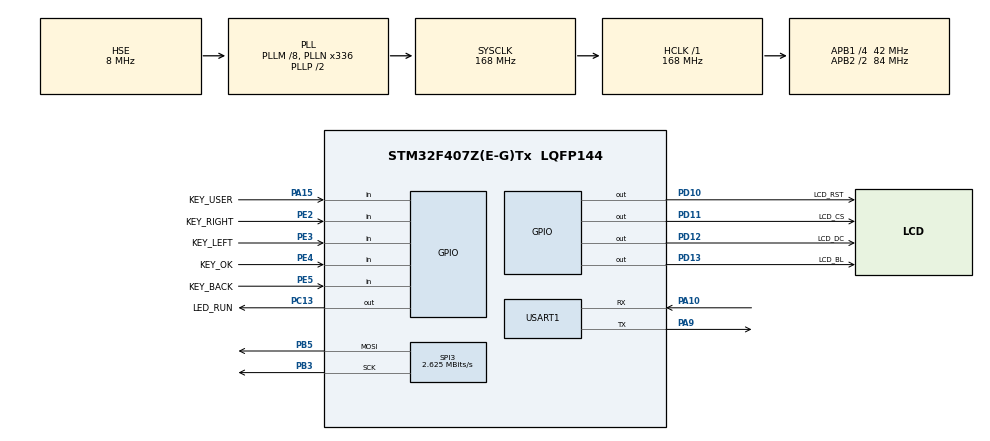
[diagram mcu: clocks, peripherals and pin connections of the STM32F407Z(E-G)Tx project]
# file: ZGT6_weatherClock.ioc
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FREERTOS.Queues01=uiQueue,8,uint32_t,0,Dynamic,NULL,NULL
FREERTOS.Tasks01=KeyTask,8,256,StartKeyTask,Default,NULL,Dynamic,NULL,NULL;UiTask,24,512,StartUiTask,Default,NULL,Dynamic,NULL,NULL;TimeTask,8,512,StartTimeTask,Default,NULL,Dynamic,NULL,NULL;Esp32Task,8,2048,StartEsp32Task,Default,NULL,Dynamic,NULL,NULL
Mcu.Family=STM32F4
Mcu.Name=STM32F407Z(E-G)Tx
Mcu.Package=LQFP144
NVIC.PriorityGroup=NVIC_PRIORITYGROUP_4
NVIC.TIM6_DAC_IRQn=true\:15\:0\:false\:false\:true\:false\:false\:true\:true
NVIC.TimeBase=TIM6_DAC_IRQn
NVIC.TimeBaseIP=TIM6
NVIC.USART1_IRQn=true\:5\:0\:false\:false\:true\:true\:true\:true\:true
PA10.Mode=Asynchronous
PA10.Signal=USART1_RX
PA13.Mode=Serial_Wire
PA13.Signal=SYS_JTMS-SWDIO
PA14.Mode=Serial_Wire
PA14.Signal=SYS_JTCK-SWCLK
PA15.GPIO_Label=KEY_USER
PA15.GPIO_PuPd=GPIO_PULLUP
PA15.Signal=GPIO_Input
PA9.Mode=Asynchronous
PA9.Signal=USART1_TX
PB3.Mode=TX_Only_Simplex_Unidirect_Master
PB3.Signal=SPI3_SCK
PB5.Mode=TX_Only_Simplex_Unidirect_Master
PB5.Signal=SPI3_MOSI
PC13-ANTI_TAMP.GPIO_Label=LED_RUN
PC13-ANTI_TAMP.PinState=GPIO_PIN_SET
PC13-ANTI_TAMP.Signal=GPIO_Output
PC14-OSC32_IN.Mode=LSE-External-Oscillator
PC14-OSC32_IN.Signal=RCC_OSC32_IN
PC15-OSC32_OUT.Mode=LSE-External-Oscillator
PC15-OSC32_OUT.Signal=RCC_OSC32_OUT
PD10.GPIO_Label=LCD_RST
PD10.PinState=GPIO_PIN_SET
PD10.Signal=GPIO_Output
PD11.GPIO_Label=LCD_CS
PD11.PinState=GPIO_PIN_SET
PD11.Signal=GPIO_Output
PD12.GPIO_Label=LCD_DC
PD12.Signal=GPIO_Output
PD13.GPIO_Label=LCD_BL
PD13.PinState=GPIO_PIN_SET
PD13.Signal=GPIO_Output
PE2.GPIO_Label=KEY_RIGHT
PE2.GPIO_PuPd=GPIO_PULLUP
PE2.Signal=GPIO_Input
PE3.GPIO_Label=KEY_LEFT
PE3.GPIO_PuPd=GPIO_PULLUP
PE3.Signal=GPIO_Input
PE4.GPIO_Label=KEY_OK
PE4.GPIO_PuPd=GPIO_PULLUP
PE4.Signal=GPIO_Input
PE5.GPIO_Label=KEY_BACK
PE5.GPIO_PuPd=GPIO_PULLUP
PE5.Signal=GPIO_Input
PH0-OSC_IN.Mode=HSE-External-Oscillator
PH0-OSC_IN.Signal=RCC_OSC_IN
PH1-OSC_OUT.Mode=HSE-External-Oscillator
PH1-OSC_OUT.Signal=RCC_OSC_OUT
ProjectManager.HeapSize=0x1000
ProjectManager.StackSize=0x1000
ProjectManager.TargetToolchain=MDK-ARM V5.32
RCC.48MHZClocksFreq_Value=84000000
RCC.AHBFreq_Value=168000000
RCC.APB1CLKDivider=RCC_HCLK_DIV4
RCC.APB1Freq_Value=42000000
RCC.APB1TimFreq_Value=84000000
RCC.APB2CLKDivider=RCC_HCLK_DIV2
RCC.APB2Freq_Value=84000000
RCC.APB2TimFreq_Value=168000000
RCC.CortexFreq_Value=168000000
RCC.HCLKFreq_Value=168000000
RCC.HSE_VALUE=8000000
RCC.HSI_VALUE=16000000
RCC.PLLM=8
RCC.PLLN=336
RCC.PLLSourceVirtual=RCC_PLLSOURCE_HSE
RCC.RCC_RTC_Clock_Source=RCC_RTCCLKSOURCE_LSE
RCC.RCC_RTC_Clock_SourceVirtual=RCC_RTCCLKSOURCE_LSE
RCC.SYSCLKFreq_VALUE=168000000
RCC.SYSCLKSource=RCC_SYSCLKSOURCE_PLLCLK
RCC.VCOOutputFreq_Value=336000000
SPI3.BaudRatePrescaler=SPI_BAUDRATEPRESCALER_16
SPI3.CalculateBaudRate=2.625 MBits/s
SPI3.Direction=SPI_DIRECTION_2LINES
SPI3.Mode=SPI_MODE_MASTER
SPI3.VirtualType=VM_MASTER
USART1.VirtualMode=VM_ASYNC
VP_FREERTOS_VS_CMSIS_V2.Mode=CMSIS_V2
VP_RTC_VS_RTC_Activate.Mode=RTC_Enabled
VP_RTC_VS_RTC_Calendar.Mode=RTC_Calendar
VP_SYS_VS_tim6.Mode=TIM6
board=custom

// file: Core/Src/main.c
/* USER CODE BEGIN Header */
/**
  ******************************************************************************
  * @file           : main.c
  * @brief          : Main program body
  ******************************************************************************
  * @attention
  *
  * Copyright (c) 2026 STMicroelectronics.
  * All rights reserved.
  *
  * This software is licensed under terms that can be found in the LICENSE file
  * in the root directory of this software component.
  * If no LICENSE file comes with this software, it is provided AS-IS.
  *
  ******************************************************************************
  */
/* USER CODE END Header */
#include "main.h"
#include "cmsis_os.h"
#include "rtc.h"
#include "spi.h"
#include "usart.h"
#include "gpio.h"

void SystemClock_Config(void);
void MX_FREERTOS_Init(void);

int main(void)
{

  /* MCU Configuration--------------------------------------------------------*/

  /* Reset of all peripherals, Initializes the Flash interface and the Systick. */
  HAL_Init();

  /* Configure the system clock */
  SystemClock_Config();

  /* Initialize all configured peripherals */
  MX_GPIO_Init();
  MX_RTC_Init();
  MX_SPI3_Init();
  MX_USART1_UART_Init();

  /* Init scheduler */
  osKernelInitialize();  /* Call init function for freertos objects (in cmsis_os2.c) */
  MX_FREERTOS_Init();

  /* Start scheduler */
  osKernelStart();

  /* We should never get here as control is now taken by the scheduler */

  /* Infinite loop */
  while (1)
  {

  }
}

void SystemClock_Config(void)
{
  RCC_OscInitTypeDef RCC_OscInitStruct = {0};
  RCC_ClkInitTypeDef RCC_ClkInitStruct = {0};

  /** Configure the main internal regulator output voltage
  */
  __HAL_RCC_PWR_CLK_ENABLE();
  __HAL_PWR_VOLTAGESCALING_CONFIG(PWR_REGULATOR_VOLTAGE_SCALE1);

  /** Initializes the RCC Oscillators according to the specified parameters
  * in the RCC_OscInitTypeDef structure.
  */
  RCC_OscInitStruct.OscillatorType = RCC_OSCILLATORTYPE_HSE|RCC_OSCILLATORTYPE_LSE;
  RCC_OscInitStruct.HSEState = RCC_HSE_ON;
  RCC_OscInitStruct.LSEState = RCC_LSE_ON;
  RCC_OscInitStruct.PLL.PLLState = RCC_PLL_ON;
  RCC_OscInitStruct.PLL.PLLSource = RCC_PLLSOURCE_HSE;
  RCC_OscInitStruct.PLL.PLLM = 8;
  RCC_OscInitStruct.PLL.PLLN = 336;
  RCC_OscInitStruct.PLL.PLLP = RCC_PLLP_DIV2;
  RCC_OscInitStruct.PLL.PLLQ = 4;
  if (HAL_RCC_OscConfig(&RCC_OscInitStruct) != HAL_OK)
  {
    Error_Handler();
  }

  /** Initializes the CPU, AHB and APB buses clocks
  */
  RCC_ClkInitStruct.ClockType = RCC_CLOCKTYPE_HCLK|RCC_CLOCKTYPE_SYSCLK
                              |RCC_CLOCKTYPE_PCLK1|RCC_CLOCKTYPE_PCLK2;
  RCC_ClkInitStruct.SYSCLKSource = RCC_SYSCLKSOURCE_PLLCLK;
  RCC_ClkInitStruct.AHBCLKDivider = RCC_SYSCLK_DIV1;
  RCC_ClkInitStruct.APB1CLKDivider = RCC_HCLK_DIV4;
  RCC_ClkInitStruct.APB2CLKDivider = RCC_HCLK_DIV2;

  if (HAL_RCC_ClockConfig(&RCC_ClkInitStruct, FLASH_LATENCY_5) != HAL_OK)
  {
    Error_Handler();
  }
}

void HAL_TIM_PeriodElapsedCallback(TIM_HandleTypeDef *htim)
{
  if (htim->Instance == TIM6)
  {
    HAL_IncTick();
  }
}

void Error_Handler(void)
{
  __disable_irq();
  while (1)
  {
  }
}

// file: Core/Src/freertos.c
/* USER CODE BEGIN Header */
/**
  ******************************************************************************
  * File Name          : freertos.c
  * Description        : Code for FreeRTOS applications
  ******************************************************************************
  * @attention
  *
  * Copyright (c) 2026 STMicroelectronics.
  * All rights reserved.
  *
  * This software is licensed under terms that can be found in the LICENSE file
  * in the root directory of this software component.
  * If no LICENSE file comes with this software, it is provided AS-IS.
  *
  ******************************************************************************
  */
/* USER CODE END Header */

#include "FreeRTOS.h"
#include "task.h"
#include "main.h"
#include "cmsis_os.h"

/* USER CODE BEGIN Includes */
#include <stdio.h>
#include <stdlib.h>
#include <string.h>

#include "app_ui.h"
#include "app_config_private.h"
#include "esp32_client.h"
#include "ota_update.h"
#include "rtc.h"
/* USER CODE END Includes */

/* USER CODE BEGIN PD */
#define WEATHER_UPDATE_INTERVAL_MS  600000U
/* ESP-AT MQTT receive is asynchronous; stay in UART receive most of the time. */
#define MQTT_POLL_INTERVAL_MS       1U
#define MQTT_POLL_TIMEOUT_MS        500U
#define WIFI_CHECK_INTERVAL_MS      10000U
#define MQTT_RECONNECT_INITIAL_DELAY_MS 5000U
#define MQTT_RECONNECT_MAX_DELAY_MS     60000U
/* USER CODE END PD */

/* Definitions for KeyTask */
osThreadId_t KeyTaskHandle;
const osThreadAttr_t KeyTask_attributes = {
  .name = "KeyTask",
  .stack_size = 256 * 4,
  .priority = (osPriority_t) osPriorityLow,
};
/* Definitions for UiTask */
osThreadId_t UiTaskHandle;
const osThreadAttr_t UiTask_attributes = {
  .name = "UiTask",
  .stack_size = 512 * 4,
  .priority = (osPriority_t) osPriorityNormal,
};
/* Definitions for TimeTask */
osThreadId_t TimeTaskHandle;
const osThreadAttr_t TimeTask_attributes = {
  .name = "TimeTask",
  .stack_size = 512 * 4,
  .priority = (osPriority_t) osPriorityLow,
};
/* Definitions for Esp32Task */
osThreadId_t Esp32TaskHandle;
const osThreadAttr_t Esp32Task_attributes = {
  .name = "Esp32Task",
  .stack_size = 2048 * 4,
  .priority = (osPriority_t) osPriorityLow,
};
/* Definitions for uiQueue */
osMessageQueueId_t uiQueueHandle;
const osMessageQueueAttr_t uiQueue_attributes = {
  .name = "uiQueue"
};

/* USER CODE BEGIN FunctionPrototypes */
static int RTC_SetDateTime(const RTC_DateTypeDef *date, const RTC_TimeTypeDef *time);
static int ParseISOTime(const char *str, RTC_DateTypeDef *date, RTC_TimeTypeDef *time);
static int RTC_SetFromWeatherTime(const char *time_str);
static void Mqtt_HandleCmd(const char *payload);
static void Mqtt_HandleOtaBegin(const char *payload);
static void Mqtt_HandleOtaChunk(const char *payload);
static void Mqtt_HandleOtaEnd(void);
static void Mqtt_PublishOtaStatus(void);
/* USER CODE END FunctionPrototypes */

void StartKeyTask(void *argument);
void StartUiTask(void *argument);
void StartTimeTask(void *argument);
void StartEsp32Task(void *argument);

void MX_FREERTOS_Init(void); /* (MISRA C 2004 rule 8.1) */

void MX_FREERTOS_Init(void) {

  /* USER CODE BEGIN RTOS_MUTEX */
  AppUi_Init();
  ESP32_ClientInit();
  /* USER CODE END RTOS_MUTEX */

  /* Create the queue(s) */
  /* creation of uiQueue */
  uiQueueHandle = osMessageQueueNew (8, sizeof(uint32_t), &uiQueue_attributes);

  /* USER CODE BEGIN RTOS_QUEUES */
  AppUi_SetMessageQueue(uiQueueHandle);
  /* USER CODE END RTOS_QUEUES */

  /* Create the thread(s) */
  /* creation of KeyTask */
  KeyTaskHandle = osThreadNew(StartKeyTask, NULL, &KeyTask_attributes);

  /* creation of UiTask */
  UiTaskHandle = osThreadNew(StartUiTask, NULL, &UiTask_attributes);

  /* creation of TimeTask */
  TimeTaskHandle = osThreadNew(StartTimeTask, NULL, &TimeTask_attributes);

  /* creation of Esp32Task */
  Esp32TaskHandle = osThreadNew(StartEsp32Task, NULL, &Esp32Task_attributes);

}

void StartKeyTask(void *argument)
{
  /* USER CODE BEGIN StartKeyTask */
  uint32_t msg;
  uint8_t k1_last = GPIO_PIN_SET;
  uint8_t k2_last = GPIO_PIN_SET;
  uint8_t k3_last = GPIO_PIN_SET;
  uint8_t k4_last = GPIO_PIN_SET;

  for (;;)
  {
    uint8_t k1 = HAL_GPIO_ReadPin(KEY_RIGHT_GPIO_Port, KEY_RIGHT_Pin);
    uint8_t k2 = HAL_GPIO_ReadPin(KEY_LEFT_GPIO_Port, KEY_LEFT_Pin);
    uint8_t k3 = HAL_GPIO_ReadPin(KEY_OK_GPIO_Port, KEY_OK_Pin);
    uint8_t k4 = HAL_GPIO_ReadPin(KEY_BACK_GPIO_Port, KEY_BACK_Pin);

    if (k1 == GPIO_PIN_RESET && k1_last == GPIO_PIN_SET)
    {
      osDelay(20);
      if (HAL_GPIO_ReadPin(KEY_RIGHT_GPIO_Port, KEY_RIGHT_Pin) == GPIO_PIN_RESET)
      {
        msg = UI_MSG_RIGHT;
        osMessageQueuePut(uiQueueHandle, &msg, 0, 0);
      }
    }

    if (k2 == GPIO_PIN_RESET && k2_last == GPIO_PIN_SET)
    {
      osDelay(20);
      if (HAL_GPIO_ReadPin(KEY_LEFT_GPIO_Port, KEY_LEFT_Pin) == GPIO_PIN_RESET)
      {
        msg = UI_MSG_LEFT;
        osMessageQueuePut(uiQueueHandle, &msg, 0, 0);
      }
    }

    if (k3 == GPIO_PIN_RESET && k3_last == GPIO_PIN_SET)
    {
      osDelay(20);
      if (HAL_GPIO_ReadPin(KEY_OK_GPIO_Port, KEY_OK_Pin) == GPIO_PIN_RESET)
      {
        msg = UI_MSG_OK;
        osMessageQueuePut(uiQueueHandle, &msg, 0, 0);
      }
    }

    if (k4 == GPIO_PIN_RESET && k4_last == GPIO_PIN_SET)
    {
      osDelay(20);
      if (HAL_GPIO_ReadPin(KEY_BACK_GPIO_Port, KEY_BACK_Pin) == GPIO_PIN_RESET)
      {
        msg = UI_MSG_BACK;
        osMessageQueuePut(uiQueueHandle, &msg, 0, 0);
      }
    }

    k1_last = k1;
    k2_last = k2;
    k3_last = k3;
    k4_last = k4;

    osDelay(20);
  }
  /* USER CODE END StartKeyTask */
}

void StartUiTask(void *argument)
{
  /* USER CODE BEGIN StartUiTask */
  uint32_t msg;

  AppUi_DisplayInit();

  for (;;)
  {
    if (osMessageQueueGet(uiQueueHandle, &msg, NULL, osWaitForever) == osOK)
    {
      AppUi_HandleMessage(msg);
    }
  }
  /* USER CODE END StartUiTask */
}

void StartTimeTask(void *argument)
{
  /* USER CODE BEGIN StartTimeTask */
  RTC_TimeTypeDef sTime;
  RTC_DateTypeDef sDate;
  char time[16];
  char date[20];

  for(;;)
  {
    if (HAL_RTC_GetTime(&hrtc, &sTime, RTC_FORMAT_BIN) == HAL_OK &&
        HAL_RTC_GetDate(&hrtc, &sDate, RTC_FORMAT_BIN) == HAL_OK)
    {
      snprintf(time,
               sizeof(time),
               "%02d:%02d:%02d",
               sTime.Hours,
               sTime.Minutes,
               sTime.Seconds);

      snprintf(date,
               sizeof(date),
               "20%02d-%02d-%02d",
               sDate.Year,
               sDate.Month,
               sDate.Date);

      AppUi_ModelSetTimeDate(time, date);
      AppUi_ModelSetRtcOk(1);
      AppUi_PostMessage(UI_MSG_TIME_UPDATE);
    }

    osDelay(1000);
  }
  /* USER CODE END StartTimeTask */
}

void StartEsp32Task(void *argument)
{
  /* USER CODE BEGIN StartEsp32Task */
  WeatherNow weather_now;
  ForecastDay forecast[3];
  WeatherDailyResult daily_result;
  RTC_TimeTypeDef sTime;
  RTC_DateTypeDef sDate;
  uint8_t wifi_ok = 0;
  uint8_t mqtt_ok = 0;
  uint8_t sntp_tried = 0;
  uint32_t last_weather_tick = 0;
  uint32_t last_wifi_check_tick = 0;
  uint32_t last_mqtt_attempt_tick = 0;
  uint32_t mqtt_reconnect_delay_ms = MQTT_RECONNECT_INITIAL_DELAY_MS;
  uint32_t now_tick;
  int mqtt_poll_result;
  char mqtt_topic[128];
  char mqtt_payload[512];

  osDelay(3000);

  for(;;)
  {
    now_tick = HAL_GetTick();

    /* Do not query WiFi every 500 ms; AT+CWJAP? is much slower than MQTT poll. */
    if (!wifi_ok || (now_tick - last_wifi_check_tick >= WIFI_CHECK_INTERVAL_MS))
    {
      last_wifi_check_tick = now_tick;
      if (ESP32_CheckWiFi())
      {
        wifi_ok = 1;
      }
      else
      {
        wifi_ok = ESP32_ConnectWiFi() ? 1U : 0U;
        mqtt_ok = 0;
        sntp_tried = 0;
        last_mqtt_attempt_tick = 0;
        mqtt_reconnect_delay_ms = MQTT_RECONNECT_INITIAL_DELAY_MS;
      }
    }

    AppUi_ModelSetNetwork(wifi_ok);
    AppUi_PostMessage(UI_MSG_NETWORK_CHANGE);
    if (!wifi_ok)
    {
      AppUi_ModelSetNtpOk(0);
      AppUi_ModelSetMqttOk(0);
      osDelay(3000);
      continue;
    }

    if (!mqtt_ok)
    {
      if (last_mqtt_attempt_tick == 0U ||
          (now_tick - last_mqtt_attempt_tick >= mqtt_reconnect_delay_ms))
      {
        last_mqtt_attempt_tick = now_tick;

        mqtt_ok = ESP32_MqttConnect() ? 1U : 0U;
        if (mqtt_ok)
        {
          if (!ESP32_MqttSubscribeCmd())
          {
            mqtt_ok = 0;
          }
          else
          {
            /* Publish a small state payload; topic and payload are different things. */
            ESP32_MqttPublish(MQTT_TOPIC_STATE, "wifi=1,mqtt=1");
          }
        }

        if (mqtt_ok)
        {
          last_mqtt_attempt_tick = 0;
          mqtt_reconnect_delay_ms = MQTT_RECONNECT_INITIAL_DELAY_MS;
        }
        else
        {
          if (mqtt_reconnect_delay_ms < (MQTT_RECONNECT_MAX_DELAY_MS / 2U))
          {
            mqtt_reconnect_delay_ms *= 2U;
          }
          else
          {
            mqtt_reconnect_delay_ms = MQTT_RECONNECT_MAX_DELAY_MS;
          }
        }

        AppUi_ModelSetMqttOk(mqtt_ok);
        AppUi_PostMessage(UI_MSG_NETWORK_CHANGE);
      }
    }

    if (!sntp_tried)
    {
      sntp_tried = 1;
      if (ESP32_SyncTimeBySNTP(&sDate, &sTime))
      {
        AppUi_ModelSetNtpOk(RTC_SetDateTime(&sDate, &sTime) ? 1U : 0U);
      }
      else
      {
        AppUi_ModelSetNtpOk(0);
      }
    }

    /* First boot updates immediately; after that, update every 10 minutes. */
    if (last_weather_tick == 0U ||
        (now_tick - last_weather_tick >= WEATHER_UPDATE_INTERVAL_MS) ||
        AppUi_IsWeatherForceUpdateRequested())
    {
      if (ESP32_GetWeather(&weather_now))
      {
        AppUi_ModelSetApiNowOk(1);
        if (weather_now.update_time[0] != '\0' &&
            strcmp(weather_now.update_time, "--") != 0)
        {
          RTC_SetFromWeatherTime(weather_now.update_time);
        }
        AppUi_ModelUpdateWeather(&weather_now);

        if (mqtt_ok)
        {
          /* This publishes payload "weather_now_ok" to MQTT_TOPIC_WEATHER. */
          ESP32_MqttPublish(MQTT_TOPIC_WEATHER, "weather_now_ok");
        }
      }
      else
      {
        AppUi_ModelSetApiNowOk(0);
        AppUi_ModelSetParseNowOk(0);
        AppUi_PostMessage(UI_MSG_WEATHER_UPDATE);
      }

      osDelay(1000);

      daily_result = ESP32_GetDailyForecast(forecast);
      if (daily_result == WEATHER_DAILY_PARSE_OK)
      {
        AppUi_ModelSetApiDailyOk(1);
        AppUi_ModelUpdateForecast(forecast);
      }
      else if (daily_result == WEATHER_DAILY_PARSE_FAIL)
      {
        AppUi_ModelSetApiDailyOk(1);
        AppUi_ModelSetParseDailyOk(0);
        AppUi_PostMessage(UI_MSG_WEATHER_UPDATE);
      }
      else
      {
        AppUi_ModelSetApiDailyOk(0);
        AppUi_ModelSetParseDailyOk(0);
        AppUi_PostMessage(UI_MSG_WEATHER_UPDATE);
      }

      AppUi_ClearWeatherForceUpdate();
      last_weather_tick = HAL_GetTick();
    }

    if (mqtt_ok)
    {
      /* Return value: 1 means command received, 0 means no data, -1 means disconnected. */
      mqtt_poll_result = ESP32_MqttPoll(mqtt_topic,
                                        sizeof(mqtt_topic),
                                        mqtt_payload,
                                        sizeof(mqtt_payload),
                                        MQTT_POLL_TIMEOUT_MS);
      if (mqtt_poll_result > 0)
      {
        Mqtt_HandleCmd(mqtt_payload);
      }
      else if (mqtt_poll_result < 0)
      {
        mqtt_ok = 0;
        last_mqtt_attempt_tick = HAL_GetTick();
        mqtt_reconnect_delay_ms = MQTT_RECONNECT_INITIAL_DELAY_MS;
        AppUi_ModelSetMqttOk(0);
        AppUi_PostMessage(UI_MSG_NETWORK_CHANGE);
      }
    }

    osDelay(MQTT_POLL_INTERVAL_MS);
  }
  /* USER CODE END StartEsp32Task */
}

/* USER CODE BEGIN Application */
static int RTC_SetDateTime(const RTC_DateTypeDef *date, const RTC_TimeTypeDef *time)
{
  RTC_DateTypeDef date_copy;
  RTC_TimeTypeDef time_copy;

  if (date == NULL || time == NULL)
  {
    return 0;
  }

  date_copy = *date;
  time_copy = *time;

  if (HAL_RTC_SetTime(&hrtc, &time_copy, RTC_FORMAT_BIN) != HAL_OK)
  {
    return 0;
  }

  if (HAL_RTC_SetDate(&hrtc, &date_copy, RTC_FORMAT_BIN) != HAL_OK)
  {
    return 0;
  }

  AppUi_ModelSetRtcOk(1);
  return 1;
}

static int ParseISOTime(const char *str, RTC_DateTypeDef *date, RTC_TimeTypeDef *time)
{
  int year;
  int month;
  int day;
  int hour;
  int minute;

  if (str == NULL || date == NULL || time == NULL)
  {
    return 0;
  }

  if (sscanf(str, "%d-%d-%dT%d:%d", &year, &month, &day, &hour, &minute) != 5)
  {
    return 0;
  }

  if (year < 2000 || year > 2099 ||
      month < 1 || month > 12 ||
      day < 1 || day > 31 ||
      hour < 0 || hour > 23 ||
      minute < 0 || minute > 59)
  {
    return 0;
  }

  memset(date, 0, sizeof(*date));
  memset(time, 0, sizeof(*time));
  date->Year = (uint8_t)(year - 2000);
  date->Month = (uint8_t)month;
  date->Date = (uint8_t)day;
  date->WeekDay = RTC_WEEKDAY_MONDAY;

  time->Hours = (uint8_t)hour;
  time->Minutes = (uint8_t)minute;
  time->Seconds = 0;
  time->DayLightSaving = RTC_DAYLIGHTSAVING_NONE;
  time->StoreOperation = RTC_STOREOPERATION_RESET;

  return 1;
}

static int RTC_SetFromWeatherTime(const char *time_str)
{
  RTC_TimeTypeDef sTime;
  RTC_DateTypeDef sDate;

  if (!ParseISOTime(time_str, &sDate, &sTime))
  {
    return 0;
  }

  return RTC_SetDateTime(&sDate, &sTime);
}

static void Mqtt_HandleCmd(const char *payload)
{
  if (payload == NULL)
  {
    return;
  }

  /* MQTT commands reuse the same UI queue as physical keys. */
  if (strstr(payload, "page_next") != NULL)
  {
    AppUi_PostMessage(UI_MSG_RIGHT);
    ESP32_MqttPublish(MQTT_TOPIC_ACK, "page_next_ok");
  }
  else if (strstr(payload, "page_prev") != NULL)
  {
    AppUi_PostMessage(UI_MSG_LEFT);
    ESP32_MqttPublish(MQTT_TOPIC_ACK, "page_prev_ok");
  }
  else if (strstr(payload, "page_home") != NULL)
  {
    AppUi_PostMessage(UI_MSG_BACK);
    ESP32_MqttPublish(MQTT_TOPIC_ACK, "page_home_ok");
  }
  else if (strstr(payload, "weather_refresh") != NULL)
  {
    AppUi_PostMessage(UI_MSG_OK);
    ESP32_MqttPublish(MQTT_TOPIC_ACK, "weather_refresh_ok");
  }
  else if (strncmp(payload, "ota_begin:", 10) == 0)
  {
    Mqtt_HandleOtaBegin(payload);
  }
  else if (strncmp(payload, "ota_chunk:", 10) == 0)
  {
    Mqtt_HandleOtaChunk(payload);
  }
  else if (strcmp(payload, "ota_end") == 0)
  {
    Mqtt_HandleOtaEnd();
  }
  else if (strcmp(payload, "ota_abort") == 0)
  {
    Ota_Abort();
    ESP32_MqttPublish(MQTT_TOPIC_ACK, "ota_abort_ok");
  }
  else if (strcmp(payload, "ota_status") == 0)
  {
    Mqtt_PublishOtaStatus();
  }
  else if (strcmp(payload, "ota_reboot") == 0)
  {
    ESP32_MqttPublish(MQTT_TOPIC_ACK, "ota_rebooting");
    osDelay(300);
    NVIC_SystemReset();
  }
}

static void Mqtt_HandleOtaBegin(const char *payload)
{
  const char *p;
  char *end;
  uint32_t image_size;
  uint32_t image_crc32;
  uint32_t image_version = 0;

  p = payload + 10;
  image_size = strtoul(p, &end, 0);
  if (*end != ':')
  {
    ESP32_MqttPublish(MQTT_TOPIC_ACK, "ota_begin_bad_size");
    return;
  }

  p = end + 1;
  image_crc32 = strtoul(p, &end, 16);
  if (*end == ':')
  {
    image_version = strtoul(end + 1, &end, 0);
  }

  if (*end != '\0')
  {
    ESP32_MqttPublish(MQTT_TOPIC_ACK, "ota_begin_bad_arg");
    return;
  }

  if (Ota_Begin(image_size, image_crc32, image_version))
  {
    ESP32_MqttPublish(MQTT_TOPIC_ACK, "ota_begin_ok");
  }
  else
  {
    ESP32_MqttPublish(MQTT_TOPIC_ACK, "ota_begin_fail");
  }
}

static void Mqtt_HandleOtaChunk(const char *payload)
{
  const char *hex;
  char *end;
  uint32_t offset;
  char ack[64];

  offset = strtoul(payload + 10, &end, 0);
  if (*end != ':')
  {
    ESP32_MqttPublish(MQTT_TOPIC_ACK, "ota_chunk_bad_offset");
    return;
  }

  hex = end + 1;
  if (Ota_WriteHexChunk(offset, hex))
  {
    snprintf(ack, sizeof(ack), "ota_chunk_ok:%lu", Ota_GetReceivedSize());
    ESP32_MqttPublish(MQTT_TOPIC_ACK, ack);
  }
  else
  {
    snprintf(ack, sizeof(ack), "ota_chunk_fail:%lu", Ota_GetReceivedSize());
    ESP32_MqttPublish(MQTT_TOPIC_ACK, ack);
  }
}

static void Mqtt_HandleOtaEnd(void)
{
  char ack[96];

  if (Ota_Finish())
  {
    snprintf(ack,
             sizeof(ack),
             "ota_ready:%lu:%08lX",
             Ota_GetReceivedSize(),
             Ota_GetCurrentCrc32());
    ESP32_MqttPublish(MQTT_TOPIC_ACK, ack);
  }
  else
  {
    snprintf(ack,
             sizeof(ack),
             "ota_end_fail:%lu:%08lX",
             Ota_GetReceivedSize(),
             Ota_GetCurrentCrc32());
    ESP32_MqttPublish(MQTT_TOPIC_ACK, ack);
  }
}

static void Mqtt_PublishOtaStatus(void)
{
  char status[128];

  snprintf(status,
           sizeof(status),
           "ota_status:%s:%lu/%lu:%08lX/%08lX",
           Ota_GetStatusText(),
           Ota_GetReceivedSize(),
           Ota_GetExpectedSize(),
           Ota_GetCurrentCrc32(),
           Ota_GetExpectedCrc32());
  ESP32_MqttPublish(MQTT_TOPIC_ACK, status);
}

void vApplicationStackOverflowHook(TaskHandle_t xTask, char *pcTaskName)
{
  (void)xTask;
  (void)pcTaskName;

  taskDISABLE_INTERRUPTS();
  for (;;)
  {
  }
}

void vApplicationMallocFailedHook(void)
{
  taskDISABLE_INTERRUPTS();
  for (;;)
  {
  }
}
/* USER CODE END Application */
